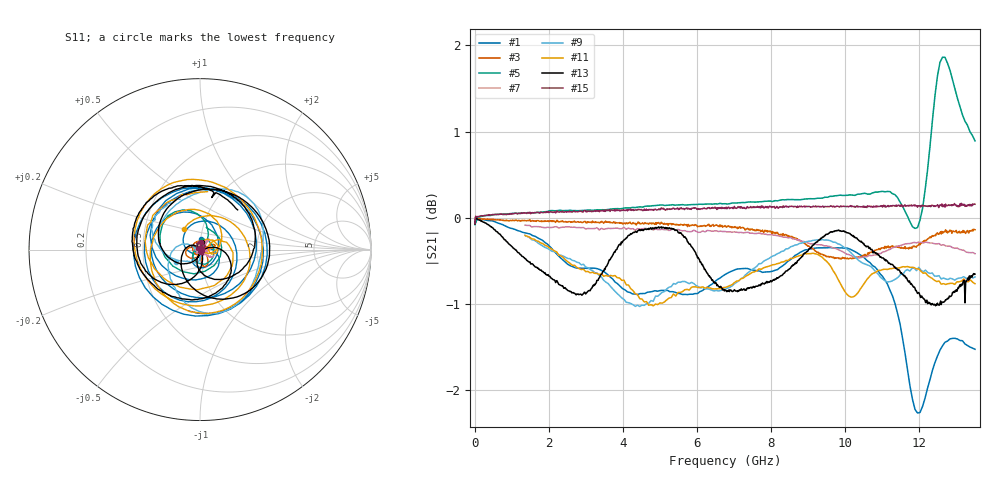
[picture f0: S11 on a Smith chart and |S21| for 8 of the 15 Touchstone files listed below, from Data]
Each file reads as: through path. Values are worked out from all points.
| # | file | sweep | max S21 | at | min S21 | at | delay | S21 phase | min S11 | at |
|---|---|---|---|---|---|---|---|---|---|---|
| 1 | 7-14-medium.s2p | 300 kHz to 13.5 GHz | -0.01 dB | 67.8 MHz | -2.3 dB | 11.95 GHz | 242 ps | 132 deg at 6.75 GHz | -44.2 dB | 10.19 GHz |
| 2 | 7-14-thick.s2p | 300 kHz to 13.5 GHz | -0.01 dB | 67.8 MHz | -1.1 dB | 11.61 GHz | 260 ps | 85 deg at 6.75 GHz | -40.5 dB | 4.995 GHz |
| 3 | 50mm_coax_air_10-5_v2.s2p | 300 kHz to 13.5 GHz | 0.01 dB | 17.17 MHz | -0.5 dB | 9.889 GHz | 136 ps | 27 deg at 6.75 GHz | -64.8 dB | 4.945 GHz |
| 4 | 75mm_coax_air_10-5-rs.s2p | 10 MHz to 24 GHz | -0.05 dB | 369.9 MHz | -0.4 dB | 21.84 GHz | 393 ps | 103 deg at 12.01 GHz | -58.8 dB | 14.76 GHz |
| 5 | Brandon(1)emptycoax.s2p | 300 kHz to 13.5 GHz | 1.86 dB | 12.62 GHz | -0.1 dB | 11.88 GHz | - | -108 deg at 6.75 GHz | -65.9 dB | 2.97 GHz |
| 6 | Calibrated_coax_air-7-28-16.s2p | 1.35 GHz to 13.5 GHz | 0.18 dB | 13.44 GHz | 0.0 dB | 1.776 GHz | - | -47 deg at 7.425 GHz | -62.9 dB | 2.383 GHz |
| 7 | Coax50mm_air_6-22.s2p | 1.35 GHz to 13.5 GHz | -0.09 dB | 1.35 GHz | -0.5 dB | 10.34 GHz | 196 ps | -166 deg at 7.425 GHz | -63.0 dB | 9.491 GHz |
| 8 | coax60mmAir.s2p | 1.35 GHz to 13.5 GHz | -0.09 dB | 1.35 GHz | -0.2 dB | 11.19 GHz | 196 ps | -165 deg at 7.425 GHz | -51.4 dB | 8.883 GHz |
| 9 | coax60mmHDPE10mm.s2p | 1.35 GHz to 13.5 GHz | -0.20 dB | 1.35 GHz | -1.0 dB | 4.448 GHz | 214 ps | 151 deg at 7.425 GHz | -38.1 dB | 9.794 GHz |
| 10 | coax60mmHDPE20mm.s2p | 1.35 GHz to 13.5 GHz | -0.16 dB | 4.874 GHz | -1.2 dB | 11.74 GHz | 231 ps | 101 deg at 7.425 GHz | -46.8 dB | 4.874 GHz |
| 11 | Coax75mm_10mm_hdpe_6-22.s2p | 1.35 GHz to 13.5 GHz | -0.20 dB | 1.35 GHz | -1.0 dB | 4.813 GHz | 297 ps | -73 deg at 7.425 GHz | -42.5 dB | 9.43 GHz |
| 12 | coax_50mm_air_9-23_ag.s2p | 300 kHz to 13.5 GHz | 0.01 dB | 17.17 MHz | -0.1 dB | 12.86 GHz | 137 ps | 28 deg at 6.75 GHz | -64.6 dB | 270.3 MHz |
| 13 | coax_50mm_HDPE_20mm_9-15.s2p | 300 kHz to 13.5 GHz | 0.00 dB | 17.17 MHz | -1.0 dB | 12.44 GHz | 231 ps | 157 deg at 6.75 GHz | -55.1 dB | 5.096 GHz |
| 14 | coax_75mm_HDPE_10mm_9-15.s2p | 300 kHz to 13.5 GHz | 0.00 dB | 17.17 MHz | -1.1 dB | 5.636 GHz | 297 ps | 0 deg at 6.75 GHz | -63.8 dB | 17.17 MHz |
| 15 | nodevice.s2p | 300 kHz to 13.5 GHz | 0.17 dB | 13.13 GHz | -0.1 dB | 300 kHz | - | -109 deg at 6.75 GHz | -74.5 dB | 489.7 MHz |
